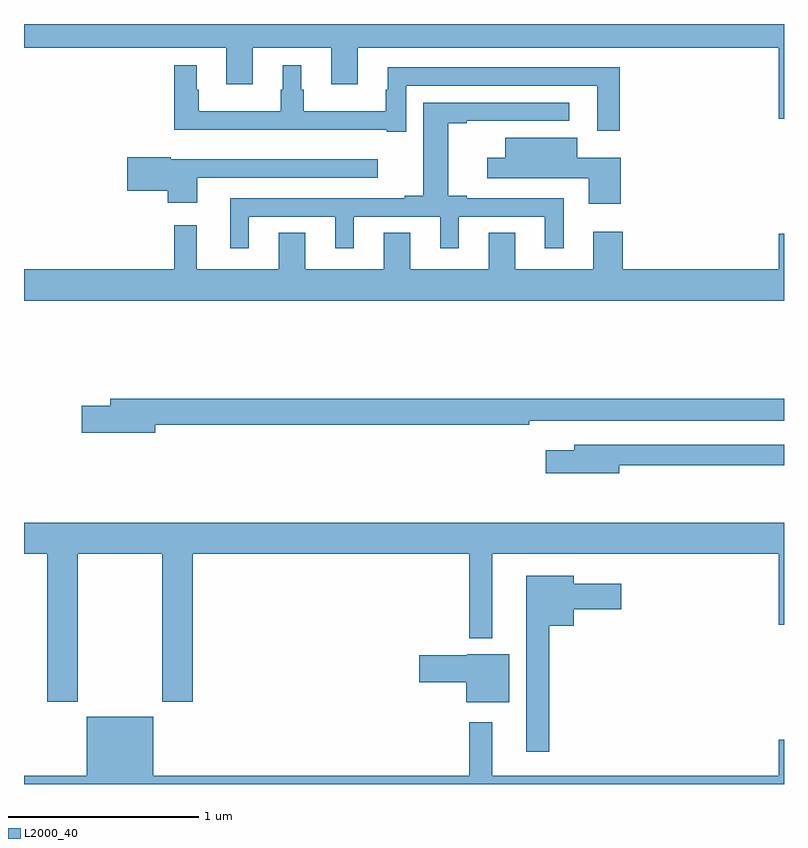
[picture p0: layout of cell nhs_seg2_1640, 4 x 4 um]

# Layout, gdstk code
import gdstk
lib = gdstk.Library(unit=1e-6, precision=1e-09)
def P(c, l, *ps):  # polygons
    for p in ps: c.add(gdstk.Polygon(p, *l))
L2000_40 = (2000, 40)

nhs_seg2_1640 = lib.new_cell('nhs_seg2_1640')
P(nhs_seg2_1640, L2000_40, [(201,607.8),(197,607.8),(197,607.676),(198.065,607.676),(198.065,607.482),(198.205,607.482),(198.205,607.676),(198.617,607.676),(198.617,607.482),(198.757,607.482),(198.757,607.676),(200.972,607.676),(200.972,607.302),(201,607.302)],
  [(199.011,607.476),(200.018,607.476),(200.018,607.239),(200.135,607.239),(200.135,607.572),(198.914,607.572),(198.914,607.454),(198.903,607.454),(198.903,607.342),(198.472,607.342),(198.472,607.454),(198.46,607.454),(198.46,607.582),(198.362,607.582),(198.362,607.454),(198.351,607.454),(198.351,607.342),(197.92,607.342),(197.92,607.454),(197.908,607.454),(197.908,607.582),(197.791,607.582),(197.791,607.244),(198.908,607.244),(198.908,607.233),(199.011,607.233)],
  [(198.184,606.786),(198.638,606.786),(198.638,606.621),(198.736,606.621),(198.736,606.786),(199.19,606.786),(199.19,606.621),(199.288,606.621),(199.288,606.786),(199.742,606.786),(199.742,606.621),(199.84,606.621),(199.84,606.882),(199.33,606.882),(199.33,606.895),(199.234,606.895),(199.234,607.278),(199.33,607.278),(199.33,607.29),(199.87,607.29),(199.87,607.386),(199.1,607.386),(199.1,606.895),(199.004,606.895),(199.004,606.882),(198.086,606.882),(198.086,606.621),(198.184,606.621)],
  [(200.14,607.096),(199.912,607.096),(199.912,607.201),(199.532,607.201),(199.532,607.096),(199.437,607.096),(199.437,606.989),(199.973,606.989),(199.973,606.855),(200.14,606.855)],
  [(197.911,606.99),(198.862,606.99),(198.862,607.087),(197.772,607.087),(197.772,607.1),(197.544,607.1),(197.544,606.922),(197.756,606.922),(197.756,606.858),(197.911,606.858)],
  [(201,606.697),(200.972,606.697),(200.972,606.508),(200.15,606.508),(200.15,606.706),(199.997,606.706),(199.997,606.508),(199.585,606.508),(199.585,606.701),(199.445,606.701),(199.445,606.508),(199.033,606.508),(199.033,606.701),(198.893,606.701),(198.893,606.508),(198.481,606.508),(198.481,606.701),(198.341,606.701),(198.341,606.508),(197.909,606.508),(197.909,606.742),(197.791,606.742),(197.791,606.508),(197,606.508),(197,606.344),(201,606.344)],
  [(197.692,605.692),(199.658,605.692),(199.658,605.712),(201,605.712),(201,605.828),(197.453,605.828),(197.453,605.792),(197.304,605.792),(197.304,605.65),(197.692,605.65)],
  [(200.134,605.478),(201,605.478),(201,605.586),(199.895,605.586),(199.895,605.557),(199.746,605.557),(199.746,605.435),(200.134,605.435)],
  [(197.283,605.012),(197.728,605.012),(197.728,604.233),(197.888,604.233),(197.888,605.012),(199.344,605.012),(199.344,604.568),(199.465,604.568),(199.465,605.012),(200.972,605.012),(200.972,604.638),(201,604.638),(201,605.176),(197,605.176),(197,605.012),(197.123,605.012),(197.123,604.233),(197.283,604.233)],
  [(199.765,604.634),(199.894,604.634),(199.894,604.721),(200.143,604.721),(200.143,604.855),(199.894,604.855),(199.894,604.897),(199.643,604.897),(199.643,603.969),(199.765,603.969)],
  [(199.555,604.483),(199.332,604.483),(199.332,604.478),(199.08,604.478),(199.08,604.336),(199.328,604.336),(199.328,604.229),(199.555,604.229)],
  [(201,604.033),(200.972,604.033),(200.972,603.844),(199.465,603.844),(199.465,604.126),(199.344,604.126),(199.344,603.844),(197.68,603.844),(197.68,604.153),(197.33,604.153),(197.33,603.844),(197,603.844),(197,603.8),(201,603.8)])

lib.write_gds('nhs_seg2_1640.gds')
